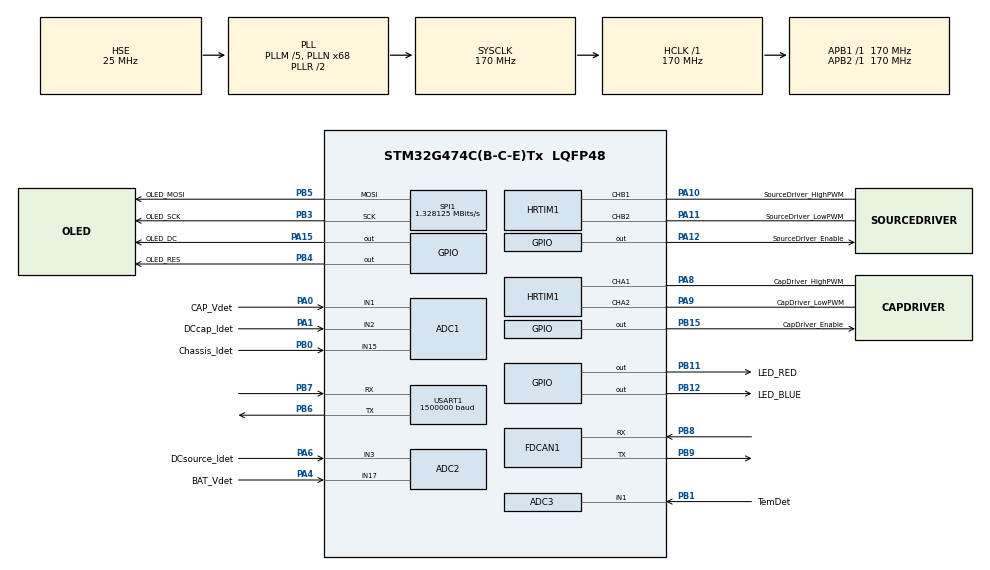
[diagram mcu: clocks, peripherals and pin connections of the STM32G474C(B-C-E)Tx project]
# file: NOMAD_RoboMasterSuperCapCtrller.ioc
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ADC1.Channel-0\#ChannelRegularConversion=ADC_CHANNEL_2
ADC1.Channel-1\#ChannelRegularConversion=ADC_CHANNEL_15
ADC1.Channel-2\#ChannelRegularConversion=ADC_CHANNEL_1
ADC1.ClockPrescaler=ADC_CLOCK_ASYNC_DIV4
ADC1.DMAContinuousRequests=ENABLE
ADC1.EOCSelection=ADC_EOC_SEQ_CONV
ADC1.ExternalTrigConv=ADC_EXTERNALTRIG_HRTIM_TRG1
ADC1.NbrOfConversion=3
ADC1.NbrOfConversionFlag=1
ADC1.OffsetNumber-0\#ChannelRegularConversion=ADC_OFFSET_NONE
ADC1.OffsetNumber-1\#ChannelRegularConversion=ADC_OFFSET_NONE
ADC1.OffsetNumber-2\#ChannelRegularConversion=ADC_OFFSET_NONE
ADC1.Overrun=ADC_OVR_DATA_OVERWRITTEN
ADC1.Rank-0\#ChannelRegularConversion=1
ADC1.Rank-1\#ChannelRegularConversion=2
ADC1.Rank-2\#ChannelRegularConversion=3
ADC1.SamplingTime-0\#ChannelRegularConversion=ADC_SAMPLETIME_2CYCLES_5
ADC1.SamplingTime-1\#ChannelRegularConversion=ADC_SAMPLETIME_2CYCLES_5
ADC1.SamplingTime-2\#ChannelRegularConversion=ADC_SAMPLETIME_2CYCLES_5
ADC1.master=1
ADC2.Channel-0\#ChannelRegularConversion=ADC_CHANNEL_3
ADC2.Channel-1\#ChannelRegularConversion=ADC_CHANNEL_17
ADC2.ClockPrescaler=ADC_CLOCK_ASYNC_DIV4
ADC2.DMAContinuousRequests=ENABLE
ADC2.EOCSelection=ADC_EOC_SEQ_CONV
ADC2.ExternalTrigConv=ADC_EXTERNALTRIG_HRTIM_TRG3
ADC2.NbrOfConversion=2
ADC2.NbrOfConversionFlag=1
ADC2.OffsetNumber-0\#ChannelRegularConversion=ADC_OFFSET_NONE
ADC2.OffsetNumber-1\#ChannelRegularConversion=ADC_OFFSET_NONE
ADC2.Overrun=ADC_OVR_DATA_OVERWRITTEN
ADC2.Rank-0\#ChannelRegularConversion=1
ADC2.Rank-1\#ChannelRegularConversion=2
ADC2.SamplingTime-0\#ChannelRegularConversion=ADC_SAMPLETIME_2CYCLES_5
ADC2.SamplingTime-1\#ChannelRegularConversion=ADC_SAMPLETIME_2CYCLES_5
ADC3.Channel-0\#ChannelRegularConversion=ADC_CHANNEL_1
ADC3.ContinuousConvMode=ENABLE
ADC3.NbrOfConversionFlag=1
ADC3.OffsetNumber-0\#ChannelRegularConversion=ADC_OFFSET_NONE
ADC3.Overrun=ADC_OVR_DATA_OVERWRITTEN
ADC3.Rank-0\#ChannelRegularConversion=1
ADC3.SamplingTime-0\#ChannelRegularConversion=ADC_SAMPLETIME_2CYCLES_5
ADC3.master=1
Dma.ADC1.0.Direction=DMA_PERIPH_TO_MEMORY
Dma.ADC1.0.EventEnable=DISABLE
Dma.ADC1.0.Instance=DMA1_Channel1
Dma.ADC1.0.MemDataAlignment=DMA_MDATAALIGN_HALFWORD
Dma.ADC1.0.MemInc=DMA_MINC_ENABLE
Dma.ADC1.0.Mode=DMA_CIRCULAR
Dma.ADC1.0.PeriphDataAlignment=DMA_PDATAALIGN_HALFWORD
Dma.ADC1.0.PeriphInc=DMA_PINC_DISABLE
Dma.ADC1.0.Polarity=HAL_DMAMUX_REQ_GEN_RISING
Dma.ADC1.0.Priority=DMA_PRIORITY_VERY_HIGH
Dma.ADC1.0.RequestNumber=1
Dma.ADC1.0.SignalID=NONE
Dma.ADC1.0.SyncEnable=DISABLE
Dma.ADC1.0.SyncPolarity=HAL_DMAMUX_SYNC_NO_EVENT
Dma.ADC1.0.SyncRequestNumber=1
Dma.ADC1.0.SyncSignalID=NONE
Dma.ADC2.1.Direction=DMA_PERIPH_TO_MEMORY
Dma.ADC2.1.EventEnable=DISABLE
Dma.ADC2.1.Instance=DMA2_Channel1
Dma.ADC2.1.MemDataAlignment=DMA_MDATAALIGN_HALFWORD
Dma.ADC2.1.MemInc=DMA_MINC_ENABLE
Dma.ADC2.1.Mode=DMA_CIRCULAR
Dma.ADC2.1.PeriphDataAlignment=DMA_PDATAALIGN_HALFWORD
Dma.ADC2.1.PeriphInc=DMA_PINC_DISABLE
Dma.ADC2.1.Polarity=HAL_DMAMUX_REQ_GEN_RISING
Dma.ADC2.1.Priority=DMA_PRIORITY_VERY_HIGH
Dma.ADC2.1.RequestNumber=1
Dma.ADC2.1.SignalID=NONE
Dma.ADC2.1.SyncEnable=DISABLE
Dma.ADC2.1.SyncPolarity=HAL_DMAMUX_SYNC_NO_EVENT
Dma.ADC2.1.SyncRequestNumber=1
Dma.ADC2.1.SyncSignalID=NONE
Dma.Request0=ADC1
Dma.Request1=ADC2
FDCAN1.AutoRetransmission=ENABLE
FDCAN1.CalculateBaudRateNominal=1000000
FDCAN1.CalculateTimeBitNominal=1000
FDCAN1.CalculateTimeQuantumNominal=100.0
FDCAN1.DataPrescaler=17
FDCAN1.DataSyncJumpWidth=4
FDCAN1.DataTimeSeg1=6
FDCAN1.DataTimeSeg2=3
FDCAN1.NominalPrescaler=17
FDCAN1.NominalSyncJumpWidth=4
FDCAN1.NominalTimeSeg1=6
FDCAN1.NominalTimeSeg2=3
FDCAN1.StdFiltersNbr=1
HRTIM1.ADCTrigger1_Source1=HRTIM_ADCTRIGGEREVENT13_TIMERA_CMP3
HRTIM1.ADCTrigger3_Source1=HRTIM_ADCTRIGGEREVENT13_TIMERB_CMP3
HRTIM1.ADCTrigger_Id1=HRTIM_ADCTRIGGER_1
HRTIM1.ADCTrigger_Id2=__NULL
HRTIM1.ADCTrigger_Id3=HRTIM_ADCTRIGGER_3
HRTIM1.CompareUnit1-Output_TA1TA2=HRTIM_COMPAREUNIT_1
HRTIM1.CompareUnit1-Output_TB1TB2=HRTIM_COMPAREUNIT_1
HRTIM1.CompareUnit2-Output_TA1TA2=HRTIM_COMPAREUNIT_2
HRTIM1.CompareUnit2-Output_TB1TB2=HRTIM_COMPAREUNIT_2
HRTIM1.CompareUnit3-Output_TA1TA2=HRTIM_COMPAREUNIT_3
HRTIM1.CompareUnit3-Output_TB1TB2=HRTIM_COMPAREUNIT_3
HRTIM1.CompareValue1-Output_TA1TA2=27200
HRTIM1.CompareValue1-Output_TB1TB2=3400
HRTIM1.CompareValue2-Output_TA1TA2=30000
HRTIM1.CompareValue2-Output_TB1TB2=30000
HRTIM1.CompareValue3-Output_TA1TA2=15640
HRTIM1.CompareValue3-Output_TB1TB2=15640
HRTIM1.DeadTimeInsertion-Output_TA1TA2=HRTIM_TIMDEADTIMEINSERTION_ENABLED
HRTIM1.DeadTimeInsertion-Output_TB1TB2=HRTIM_TIMDEADTIMEINSERTION_ENABLED
HRTIM1.FallingValue-Output_TA1TA2=110
HRTIM1.FallingValue-Output_TB1TB2=110
HRTIM1.InterruptRequests1_Master=HRTIM_MASTER_IT_MREP
HRTIM1.NumberADCTriggerSource1=1
HRTIM1.NumberADCTriggerSource3=1
HRTIM1.NumberInterruptRequests_Master-MasterTimer=1
HRTIM1.NumberResetSource1-Output_TA1TA2=1
HRTIM1.NumberResetSource1-Output_TB1TB2=1
HRTIM1.NumberSetSource1-Output_TA1TA2=1
HRTIM1.NumberSetSource1-Output_TB1TB2=1
HRTIM1.NumberUpdateTrigger-Output_TA1TA2=1
HRTIM1.NumberUpdateTrigger-Output_TB1TB2=1
HRTIM1.ORingUpdateSource_ADCTrigger1=HRTIM_ADCTRIGGERUPDATE_TIMER_A
HRTIM1.ORingUpdateSource_ADCTrigger3=HRTIM_ADCTRIGGERUPDATE_TIMER_B
HRTIM1.Periode_MASTER=34000
HRTIM1.Periode_TA=34000
HRTIM1.Periode_TB=34000
HRTIM1.PreloadEnable-Output_TA1TA2=HRTIM_PRELOAD_ENABLED
HRTIM1.PreloadEnable-Output_TB1TB2=HRTIM_PRELOAD_ENABLED
HRTIM1.PrescalerRatio_MASTER=HRTIM_PRESCALERRATIO_MUL8
HRTIM1.PrescalerRatio_TA=HRTIM_PRESCALERRATIO_MUL32
HRTIM1.PrescalerRatio_TB=HRTIM_PRESCALERRATIO_MUL32
HRTIM1.RepetitionCounter-MasterTimer=16
HRTIM1.RepetitionCounter-Output_TA1TA2=0
HRTIM1.ResetOutput1_Source1-Output_TA1TA2=HRTIM_OUTPUTRESET_TIMCMP2
HRTIM1.ResetOutput1_Source1-Output_TB1TB2=HRTIM_OUTPUTRESET_TIMCMP2
HRTIM1.ResetUpdate-Output_TA1TA2=HRTIM_TIMUPDATEONRESET_ENABLED
HRTIM1.ResetUpdate-Output_TB1TB2=HRTIM_TIMUPDATEONRESET_ENABLED
HRTIM1.RisingValue-Output_TA1TA2=110
HRTIM1.RisingValue-Output_TB1TB2=110
HRTIM1.SetOutput1_Source1-Output_TA1TA2=HRTIM_OUTPUTSET_TIMCMP1
HRTIM1.SetOutput1_Source1-Output_TB1TB2=HRTIM_OUTPUTSET_TIMCMP1
HRTIM1.UpdateTrigger1-Output_TA1TA2=HRTIM_TIMUPDATETRIGGER_TIMER_A
HRTIM1.UpdateTrigger1-Output_TB1TB2=HRTIM_TIMUPDATETRIGGER_TIMER_B
IWDG.Reload=80
Mcu.Family=STM32G4
Mcu.Name=STM32G474C(B-C-E)Tx
Mcu.Package=LQFP48
NVIC.ADC1_2_IRQn=true\:0\:0\:false\:false\:true\:true\:true\:true
NVIC.DMA1_Channel1_IRQn=true\:0\:0\:false\:false\:true\:false\:true\:true
NVIC.DMA2_Channel1_IRQn=true\:0\:0\:false\:false\:true\:false\:true\:true
NVIC.FDCAN1_IT0_IRQn=true\:2\:0\:true\:false\:true\:true\:true\:true
NVIC.HRTIM1_Master_IRQn=true\:1\:0\:true\:false\:true\:true\:true\:true
NVIC.PriorityGroup=NVIC_PRIORITYGROUP_3
NVIC.TIM6_DAC_IRQn=true\:1\:1\:true\:false\:true\:true\:true\:true
PA0.GPIO_Label=CAP_Vdet
PA0.Mode=IN1-Single-Ended
PA0.Signal=ADC1_IN1
PA1.GPIO_Label=DCcap_Idet
PA1.Mode=IN2-Single-Ended
PA1.Signal=ADC1_IN2
PA10.GPIO_Label=SourceDriver_HighPWM
PA10.Mode=Output_TB1TB2
PA10.Signal=HRTIM1_CHB1
PA11.GPIO_Label=SourceDriver_LowPWM
PA11.Mode=Output_TB1TB2
PA11.Signal=HRTIM1_CHB2
PA12.GPIO_Label=SourceDriver_Enable
PA12.GPIO_PuPd=GPIO_PULLUP
PA12.GPIO_Speed=GPIO_SPEED_FREQ_VERY_HIGH
PA12.PinState=GPIO_PIN_SET
PA12.Signal=GPIO_Output
PA13.Mode=Serial_Wire
PA13.Signal=SYS_JTMS-SWDIO
PA14.Mode=Serial_Wire
PA14.Signal=SYS_JTCK-SWCLK
PA15.GPIO_Label=OLED_DC
PA15.GPIO_PuPd=GPIO_PULLDOWN
PA15.GPIO_Speed=GPIO_SPEED_FREQ_VERY_HIGH
PA15.Signal=GPIO_Output
PA4.GPIO_Label=BAT_Vdet
PA4.Mode=IN17-Single-Ended
PA4.Signal=ADC2_IN17
PA6.GPIO_Label=DCsource_Idet
PA6.Mode=IN3-Single-Ended
PA6.Signal=ADC2_IN3
PA8.GPIO_Label=CapDriver_HighPWM
PA8.Mode=Output_TA1TA2
PA8.Signal=HRTIM1_CHA1
PA9.GPIO_Label=CapDriver_LowPWM
PA9.Mode=Output_TA1TA2
PA9.Signal=HRTIM1_CHA2
PB0.GPIO_Label=Chassis_Idet
PB0.Mode=IN15-Single-Ended
PB0.Signal=ADC1_IN15
PB1.GPIO_Label=TemDet
PB1.Mode=IN1-Single-Ended
PB1.Signal=ADC3_IN1
PB11.GPIO_Label=LED_RED
PB11.GPIO_ModeDefaultOutputPP=GPIO_MODE_OUTPUT_OD
PB11.GPIO_PuPd=GPIO_NOPULL
PB11.GPIO_Speed=GPIO_SPEED_FREQ_LOW
PB11.PinState=GPIO_PIN_SET
PB11.Signal=GPIO_Output
PB12.GPIO_Label=LED_BLUE
PB12.GPIO_ModeDefaultOutputPP=GPIO_MODE_OUTPUT_OD
PB12.GPIO_PuPd=GPIO_NOPULL
PB12.PinState=GPIO_PIN_SET
PB12.Signal=GPIO_Output
PB15.GPIO_Label=CapDriver_Enable
PB15.GPIO_PuPd=GPIO_PULLUP
PB15.GPIO_Speed=GPIO_SPEED_FREQ_VERY_HIGH
PB15.PinState=GPIO_PIN_SET
PB15.Signal=GPIO_Output
PB3.GPIO_Label=OLED_SCK
PB3.Mode=TX_Only_Simplex_Unidirect_Master
PB3.Signal=SPI1_SCK
PB4.GPIO_Label=OLED_RES
PB4.GPIO_PuPd=GPIO_PULLDOWN
PB4.GPIO_Speed=GPIO_SPEED_FREQ_VERY_HIGH
PB4.Signal=GPIO_Output
PB5.GPIO_Label=OLED_MOSI
PB5.Mode=TX_Only_Simplex_Unidirect_Master
PB5.Signal=SPI1_MOSI
PB6.Mode=Asynchronous
PB6.Signal=USART1_TX
PB7.Mode=Asynchronous
PB7.Signal=USART1_RX
PB8-BOOT0.Mode=FDCAN_Activate
PB8-BOOT0.Signal=FDCAN1_RX
PB9.Mode=FDCAN_Activate
PB9.Signal=FDCAN1_TX
PF0-OSC_IN.Mode=HSE-External-Oscillator
PF0-OSC_IN.Signal=RCC_OSC_IN
PF1-OSC_OUT.Mode=HSE-External-Oscillator
PF1-OSC_OUT.Signal=RCC_OSC_OUT
ProjectManager.HeapSize=0x200
ProjectManager.StackSize=0x400
ProjectManager.TargetToolchain=MDK-ARM V5.32
RCC.ADC12Freq_Value=170000000
RCC.ADC345Freq_Value=170000000
RCC.AHBFreq_Value=170000000
RCC.APB1Freq_Value=170000000
RCC.APB1TimFreq_Value=170000000
RCC.APB2Freq_Value=170000000
RCC.APB2TimFreq_Value=170000000
RCC.CortexFreq_Value=170000000
RCC.EXTERNAL_CLOCK_VALUE=12288000
RCC.HCLKFreq_Value=170000000
RCC.HSE_VALUE=25000000
RCC.HSI48_VALUE=48000000
RCC.HSI_VALUE=16000000
RCC.LSE_VALUE=32768
RCC.PLLM=RCC_PLLM_DIV5
RCC.PLLN=68
RCC.PLLSourceVirtual=RCC_PLLSOURCE_HSE
RCC.SYSCLKFreq_VALUE=170000000
RCC.SYSCLKSource=RCC_SYSCLKSOURCE_PLLCLK
RCC.USBFreq_Value=170000000
RCC.VCOOutputFreq_Value=340000000
SPI1.BaudRatePrescaler=SPI_BAUDRATEPRESCALER_128
SPI1.CLKPhase=SPI_PHASE_2EDGE
SPI1.CLKPolarity=SPI_POLARITY_HIGH
SPI1.CalculateBaudRate=1.328125 MBits/s
SPI1.DataSize=SPI_DATASIZE_8BIT
SPI1.Direction=SPI_DIRECTION_2LINES
SPI1.Mode=SPI_MODE_MASTER
SPI1.VirtualType=VM_MASTER
STMicroelectronics.X-CUBE-ALGOBUILD.1.3.0.LibraryCcDSPOoLibraryJjDSPOoLibrary=true
TIM6.AutoReloadPreload=TIM_AUTORELOAD_PRELOAD_ENABLE
TIM6.PeriodNoDither=1000
TIM6.Prescaler=170
TIM6.TIM_MasterOutputTrigger=TIM_TRGO_RESET
USART1.BaudRate=1500000
USART1.Mode=MODE_TX
USART1.VirtualMode-Asynchronous=VM_ASYNC
VP_HRTIM1_VS_hrtimMasterTimerNoOutput.Mode=MasterTimer
VP_IWDG_VS_IWDG.Mode=IWDG_Activate
VP_STMicroelectronics.X-CUBE-ALGOBUILD_VS_DSPOoLibraryJjLibrary_1.3.0_1.3.0.Mode=DSPOoLibraryJjLibrary
VP_SYS_VS_DBSignals.Mode=DisableDeadBatterySignals
VP_SYS_V_VREFBUF.Mode=ExternalMode
VP_TIM6_VS_ClockSourceINT.Mode=Enable_Timer
board=custom

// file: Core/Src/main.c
/* USER CODE BEGIN Header */
/**
  ******************************************************************************
  * @file           : main.c
  * @brief          : Main program body
  ******************************************************************************
  * @attention
  *
  * Copyright (c) 2023 STMicroelectronics.
  * All rights reserved.
  *
  * This software is licensed under terms that can be found in the LICENSE file
  * in the root directory of this software component.
  * If no LICENSE file comes with this software, it is provided AS-IS.
  *
  ******************************************************************************
  */
/* USER CODE END Header */
#include "main.h"
#include "adc.h"
#include "dma.h"
#include "fdcan.h"
#include "hrtim.h"
#include "spi.h"
#include "tim.h"
#include "usart.h"
#include "gpio.h"

/* USER CODE BEGIN Includes */
#include "iwdg.h"

//Board Supply Package
#include "AnalogSignal.h"
#include "VOFAplus_DataUpload.h"
#include "led.h"

//APP
#include "AlarmSystem.h"
#include "Display.h"
#include "LoopCtrl.h"
#include "Mode.h"
#include "UsrMsg.h"
#include "Safety.h"
/* USER CODE END Includes */

/* USER CODE BEGIN PV */
float Temp = 0.0;//temp
/* USER CODE END PV */

void SystemClock_Config(void);

int main(void)
{

  /* MCU Configuration--------------------------------------------------------*/

  /* Reset of all peripherals, Initializes the Flash interface and the Systick. */
  HAL_Init();

  /* Configure the system clock */
  SystemClock_Config();

  /* Initialize all configured peripherals */
  MX_GPIO_Init();
  MX_DMA_Init();
  MX_ADC1_Init();
  MX_ADC2_Init();
  MX_ADC3_Init();
  MX_HRTIM1_Init();
  MX_TIM6_Init();
  MX_USART1_UART_Init();
  MX_FDCAN1_Init();
  MX_SPI1_Init();
  /* USER CODE BEGIN 2 */
	//OLED清屏、初始化、开机界面
	OLED_Clear();
	LED_Init();
	Display_BootUpInterface();

	//闹钟系统初始化
	AlarmSystem_Init();

	//安全管理初始化
	Safety_Init();

	//模拟信号初始化
	AnalogSignal_AnalogData_Init(15, 32, 64, 15, 64);

	//HRTIM&ADC启动
//	HAL_ADCEx_Calibration_Start(&hadc1, ADC_SINGLE_ENDED);
//	HAL_ADCEx_Calibration_Start(&hadc2, ADC_SINGLE_ENDED);
	HAL_ADC_Start_DMA(&hadc1, (uint32_t *)(&AnalogSignal_CapData_RxBuffer[0][0][0]), 96);
	HAL_ADC_Start_DMA(&hadc2, (uint32_t *)(&AnalogSignal_SRCData_RxBuffer[0][0][0]), 64);
	HAL_HRTIM_WaveformCountStart_IT(&hhrtim1, HRTIM_TIMERID_MASTER|HRTIM_TIMERID_TIMER_A|HRTIM_TIMERID_TIMER_B);

	//等待填满缓冲&校准模拟信号数据
	uint8_t InitDelay = AlarmSystem_ChannelActive(50, 0);
	while(AlarmSystem_GetBellRing(&InitDelay) == Clocking);
	AnalogSignal_AnalogData_Calibration();
	Safety_INA240cali_ItemCheck(AnalogSignal_FilteredData[Isource], AnalogSignal_FilteredData[Icap]);

	//开机界面时间尺度上可视(帅)，等待随逐周期控制的安全检查给出稳定评估结果
	InitDelay = AlarmSystem_ChannelActive(450, 0);
	while(AlarmSystem_GetBellRing(&InitDelay) == Clocking);
	OLED_Clear();
	InitDelay = AlarmSystem_ChannelActive(500, 0);
	Display_LogoInterface();
	while(AlarmSystem_GetBellRing(&InitDelay) == Clocking);

	//模式管理初始化
	Mode_Init();

	//用户通讯初始化
	UsrMsg_Init();

	//OLED清屏、准备界面
	OLED_Clear();
	Display_PrepareInterface();
	Display_Mode_DataUpdateInterface(Silent);
	Display_Exceed_DataUpdateInterface(0x00);

	//bxCAN(classic)启动
	MX_FDCAN_Start();
	UsrMsg_StdByFrame_Transmit(&hfdcan1, 0xFF);

	//任务时基
	uint8_t TempCheck_NoBlockDelay = AlarmSystem_ChannelActive(10, 1U);
	uint8_t FbFrameTx_NoBlockDelay = AlarmSystem_ChannelActive(500, 1U);
	uint8_t HeartBeatLED_Delay = AlarmSystem_ChannelActive(250, 1U);
	uint8_t OLED_Update_NoBlockDelay = AlarmSystem_ChannelActive(500, 1U);

	//看门狗使能
	MX_IWDG_Init();

  /* USER CODE END 2 */

  /* Infinite loop */
  /* USER CODE BEGIN WHILE */
  while (1)
  {
		//安全检查
		HAL_IWDG_Refresh(&hiwdg);
		if(AlarmSystem_GetBellRing(&TempCheck_NoBlockDelay) == Ring)
		{
			Safety_Temp_ItemCheck(AnalogSignal_GetTemp());
		}

		//决策
		if(UsrMsg_InitData.UpdateTrigger == 1U)//更新电容组类型
		{
			UsrMsg_InitData.UpdateTrigger = 0U;

			Mode_CapType_Set(UsrMsg_InitData.CapTypeGet);
		}

		if(UsrMsg_CtrlData.Pchassis_UpdateTrigger == 1U)//更新裁判限制功率
		{
			UsrMsg_CtrlData.Pchassis_UpdateTrigger = 0U;

			Mode_ExpectPchassis_Set(UsrMsg_CtrlData.PchassisGet_f);
		}
		if(UsrMsg_CtrlData.Exceed_UpdateTrigger == 1U)//更新Exceed开启状态
		{
			UsrMsg_CtrlData.Exceed_UpdateTrigger = 0U;

			Mode_Exceed_Set(UsrMsg_CtrlData.ExceedGet);
		}
		if(UsrMsg_CtrlData.Mode_UpdateTrigger == 1U)//更新工作模式
		{
			UsrMsg_CtrlData.Mode_UpdateTrigger = 0U;

			switch(UsrMsg_CtrlData.ModeGet)
			{
				case 0x00:
				{
					Mode_Silent();
				}
				break;
				case 0x01:
				{
					Mode_Work();
				}
				break;
				case 0x02:
				{
					Mode_Charge();
				}
				break;
				default:;
			}
		}

		//上位机反馈
		if(AlarmSystem_GetBellRing(&FbFrameTx_NoBlockDelay) == Ring)
		{
			float WorkIntensity1 = __ANALOGSIGNAL_DTS_CNVT(AnalogSignal_FilteredData[Icap], Icap) / 10.0f;
			WorkIntensity1 = (WorkIntensity1>=0 ? WorkIntensity1 : (WorkIntensity1*(-1.0f)));
			float WorkIntensity2 = __ANALOGSIGNAL_DTS_CNVT(AnalogSignal_FilteredData[Vbat], Vbat) * __ANALOGSIGNAL_DTS_CNVT(AnalogSignal_FilteredData[Isource], Isource) / 205.0f;
			WorkIntensity2 = (WorkIntensity2>=0 ? WorkIntensity2 : (WorkIntensity2*(-1.0f)));

			UsrMsg_FbFrame_Transmit(&hfdcan1,
															__ANALOGSIGNAL_DTS_CNVT(AnalogSignal_FilteredData[Vcap], Vcap)-__CAP_ESR*__ANALOGSIGNAL_DTS_CNVT(AnalogSignal_FilteredData[Icap], Icap),
															WorkIntensity1,
															WorkIntensity2,
															__ANALOGSIGNAL_DTS_CNVT(AnalogSignal_FilteredData[Vbat], Vbat) * __ANALOGSIGNAL_DTS_CNVT(AnalogSignal_FilteredData[Ichassis], Ichassis));
		}

		//心跳灯
		if(AlarmSystem_GetBellRing(&HeartBeatLED_Delay)==Ring)
		{
			HAL_GPIO_TogglePin(LED_RED_GPIO_Port, LED_RED_Pin);
		}

		//OLED显示数据更新任务
		if(AlarmSystem_GetBellRing(&OLED_Update_NoBlockDelay)==Ring)
		{
			Display_Vcap_DataUpdateInterface(__ANALOGSIGNAL_DTS_CNVT(AnalogSignal_FilteredData[Vcap], Vcap));
		}
		if(Safety_ItemLevel_ChangeTrigger == 1U)
		{
			Safety_ItemLevel_ChangeTrigger = 0U;

			Display_SafetyCode_DataUpdateInterface(Safety_ItemLevel);
			UsrMsg_SafeFrame_Transmit(&hfdcan1, Safety_ItemLevel);
		}

    /* USER CODE END WHILE */

  }
}

void SystemClock_Config(void)
{
  RCC_OscInitTypeDef RCC_OscInitStruct = {0};
  RCC_ClkInitTypeDef RCC_ClkInitStruct = {0};

  /** Configure the main internal regulator output voltage
  */
  HAL_PWREx_ControlVoltageScaling(PWR_REGULATOR_VOLTAGE_SCALE1_BOOST);

  /** Initializes the RCC Oscillators according to the specified parameters
  * in the RCC_OscInitTypeDef structure.
  */
  RCC_OscInitStruct.OscillatorType = RCC_OSCILLATORTYPE_LSI|RCC_OSCILLATORTYPE_HSE;
  RCC_OscInitStruct.HSEState = RCC_HSE_ON;
  RCC_OscInitStruct.LSIState = RCC_LSI_ON;
  RCC_OscInitStruct.PLL.PLLState = RCC_PLL_ON;
  RCC_OscInitStruct.PLL.PLLSource = RCC_PLLSOURCE_HSE;
  RCC_OscInitStruct.PLL.PLLM = RCC_PLLM_DIV5;
  RCC_OscInitStruct.PLL.PLLN = 68;
  RCC_OscInitStruct.PLL.PLLP = RCC_PLLP_DIV2;
  RCC_OscInitStruct.PLL.PLLQ = RCC_PLLQ_DIV2;
  RCC_OscInitStruct.PLL.PLLR = RCC_PLLR_DIV2;
  if (HAL_RCC_OscConfig(&RCC_OscInitStruct) != HAL_OK)
  {
    Error_Handler();
  }

  /** Initializes the CPU, AHB and APB buses clocks
  */
  RCC_ClkInitStruct.ClockType = RCC_CLOCKTYPE_HCLK|RCC_CLOCKTYPE_SYSCLK
                              |RCC_CLOCKTYPE_PCLK1|RCC_CLOCKTYPE_PCLK2;
  RCC_ClkInitStruct.SYSCLKSource = RCC_SYSCLKSOURCE_PLLCLK;
  RCC_ClkInitStruct.AHBCLKDivider = RCC_SYSCLK_DIV1;
  RCC_ClkInitStruct.APB1CLKDivider = RCC_HCLK_DIV1;
  RCC_ClkInitStruct.APB2CLKDivider = RCC_HCLK_DIV1;

  if (HAL_RCC_ClockConfig(&RCC_ClkInitStruct, FLASH_LATENCY_4) != HAL_OK)
  {
    Error_Handler();
  }
}

/* USER CODE BEGIN 4 */
void HAL_ADC_ErrorCallback(ADC_HandleTypeDef *hadc)
{
	AnalogSignal_ADCDMA_OVRStop(hadc);
	Safety_DMAden_ItemCheck();
}

void HAL_HRTIM_RepetitionEventCallback(HRTIM_HandleTypeDef * hhrtim, uint32_t TimerIdx)
{
	//监测ADC是否发生溢出事件，若溢出重新恢复ADC转换与DMA传输
	//并跳过这REP周期的模拟信号数据处理与HRPWM调制
	uint8_t ADC_OVR_Flag=0;
	if(__HAL_ADC_GET_FLAG(&hadc1, ADC_FLAG_OVR)==1UL)
	{
		AnalogSignal_ADCDMA_OVRRecovery(&hadc1);
		ADC_OVR_Flag=1;
	}
	if(__HAL_ADC_GET_FLAG(&hadc2, ADC_FLAG_OVR)==1UL)
	{
		AnalogSignal_ADCDMA_OVRRecovery(&hadc2);
		ADC_OVR_Flag=1;
	}

	//模拟信号处理&环路控制
	if(ADC_OVR_Flag==0)
	{
		AnalogSignal_AnalogData_Update();
		if(AnalogSignal_CaliReady==1U)
		{
			Safety_Voltage_ItemCheck(__ANALOGSIGNAL_DTS_CNVT(AnalogSignal_FilteredData[Vbat], Vbat),
															 __ANALOGSIGNAL_DTS_CNVT(AnalogSignal_FilteredData[Vcap], Vcap));
			Safety_Current_ItemCheck(__ANALOGSIGNAL_DTS_CNVT(AnalogSignal_FilteredData[Isource], Isource),
															 __ANALOGSIGNAL_DTS_CNVT(AnalogSignal_FilteredData[Icap], Icap));
			Safety_deltaP_ItemCheck(__ANALOGSIGNAL_DTS_CNVT(AnalogSignal_FilteredData[Vbat], Vbat),
															__ANALOGSIGNAL_DTS_CNVT(AnalogSignal_FilteredData[Isource], Isource),
															__ANALOGSIGNAL_DTS_CNVT(AnalogSignal_FilteredData[Vcap], Vcap),
															__ANALOGSIGNAL_DTS_CNVT(AnalogSignal_FilteredData[Icap], Icap));
		}
		LoopCtrl_Main(
			__ANALOGSIGNAL_DTS_CNVT(AnalogSignal_FilteredData[Icap], Icap),
			__ANALOGSIGNAL_DTS_CNVT(AnalogSignal_FilteredData[Ichassis], Ichassis),
			__ANALOGSIGNAL_DTS_CNVT(AnalogSignal_FilteredData[Vcap], Vcap),
			__ANALOGSIGNAL_DTS_CNVT(AnalogSignal_FilteredData[Isource], Isource),
			__ANALOGSIGNAL_DTS_CNVT(AnalogSignal_FilteredData[Vbat], Vbat));
	}

	//向上位机回传数据
	float AnalogData_Upload[2];

//	AnalogData_Upload[0] = __ANALOGSIGNAL_DTS_CNVT(AnalogSignal_RealtimeData[Icap], Icap);
//	AnalogData_Upload[1] = __ANALOGSIGNAL_DTS_CNVT(AnalogSignal_FilteredData[Icap], Icap);

	AnalogData_Upload[0] = __ANALOGSIGNAL_DTS_CNVT(AnalogSignal_FilteredData[Vbat], Vbat)*__ANALOGSIGNAL_DTS_CNVT(AnalogSignal_FilteredData[Ichassis], Ichassis);
	AnalogData_Upload[1] = __ANALOGSIGNAL_DTS_CNVT(AnalogSignal_FilteredData[Vcap], Vcap);

	VOFA_DataJustFloat_Upload(AnalogData_Upload, 2);
}

uint8_t RxFifo0NewMsg_InitLock = 0U;
void HAL_FDCAN_RxFifo0Callback(FDCAN_HandleTypeDef *hfdcan, uint32_t RxFifo0ITs)
{
	if(hfdcan==&hfdcan1
	&& RxFifo0ITs==FDCAN_IT_RX_FIFO0_NEW_MESSAGE)
	{
		FDCAN_RxHeaderTypeDef FDCAN_RxHeader;
		uint8_t FDCAN_RxData[8];
		HAL_FDCAN_GetRxMessage(hfdcan, FDCAN_RX_FIFO0, &FDCAN_RxHeader, FDCAN_RxData);

		switch(FDCAN_RxHeader.Identifier)
		{
			case UsrMsgRx_CtrlID:
			{
				UsrMsg_CtrlFrame_Unpack(FDCAN_RxData);
			}
			break;
			case UsrMsgRx_InitID:
			{
				if(RxFifo0NewMsg_InitLock == 0U)
				{
					RxFifo0NewMsg_InitLock = 1U;
					UsrMsg_InitFrame_Unpack(FDCAN_RxData);
				}
			}
			break;
			default:;
		}
	}
}

void HAL_FDCAN_ErrorStatusCallback(FDCAN_HandleTypeDef *hfdcan, uint32_t ErrorStatusITs)
{
	Safety_bxCAN_ItemCheck();
}

/* USER CODE END 4 */

void Error_Handler(void)
{
  /* USER CODE BEGIN Error_Handler_Debug */
  /* User can add his own implementation to report the HAL error return state */
	Mode_Silent();
	uint64_t FWEr_Counter = *((uint64_t *)(0x0807F800));
	if(FWEr_Counter<3)
	{
		Safety_FlashWrite64(0x0807F800, FWEr_Counter+1);
	}

  __disable_irq();
  while (1)
  {
  }
  /* USER CODE END Error_Handler_Debug */
}
